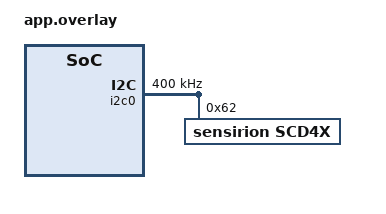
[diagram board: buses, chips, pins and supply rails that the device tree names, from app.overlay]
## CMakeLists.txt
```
# SPDX-License-Identifier: Apache-2.0

cmake_minimum_required(VERSION 3.20.0)

find_package(Zephyr REQUIRED HINTS $ENV{ZEPHYR_BASE})
project(scd4x)

FILE(GLOB app_sources src/*.c)
target_sources(app PRIVATE ${app_sources})
```

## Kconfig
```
#
# Copyright (c) 2022 Stephen Oliver
#
# SPDX-License-Identifier: Apache-2.0
#

mainmenu "SCD4X sample application"

config APP_USE_FAHRENHEIT
	bool "Display fahrenheit temperature in console"
	default n
	help
		Converts temperature value from sensor before logging

source "Kconfig.zephyr"
```

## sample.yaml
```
#
# Copyright (c) 2022 Stephen Oliver
#
# SPDX-License-Identifier: Apache-2.0
#

sample:
  name: SCD4X Sensor Sample
tests:
  sample.sensor.scd4x:
    build_only: true
    platform_allow: esp32
    tags: sensors
```

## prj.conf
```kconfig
CONFIG_CBPRINTF_FP_SUPPORT=y
CONFIG_I2C=y
CONFIG_SENSOR=y
CONFIG_SCD4X=y

CONFIG_LOG=y
CONFIG_SENSOR_LOG_LEVEL_DBG=y

CONFIG_UART_INTERRUPT_DRIVEN=y
CONFIG_SERIAL=y

CONFIG_UART_LINE_CTRL=y
CONFIG_SCD4X_POWER_DOWN_SINGLE_SHOT_MEASUREMENT=y
```

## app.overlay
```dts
&i2c0 {
	status = "okay";
	clock-frequency = <I2C_BITRATE_FAST>;
	scd4x@62 {
		status = "okay";
		compatible = "sensirion,scd4x";
		reg = <0x62>;
		label = "SCD4X";
        model = "scd40";
        altitude = <0>;
        measure-mode = "normal";
        temperature-offset = <4>;
		auto-calibration;
	};
};
```

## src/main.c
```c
/*
 * Copyright (c) 2022 Stephen Oliver
 *
 * SPDX-License-Identifier: Apache-2.0
 */

#include <zephyr/zephyr.h>
#include <zephyr/logging/log.h>

#include <zephyr/device.h>
#include <zephyr/drivers/sensor.h>
#include <stdio.h>

#include <zephyr/drivers/sensor/scd4x.h>

LOG_MODULE_REGISTER(main);

#if !DT_HAS_COMPAT_STATUS_OKAY(sensirion_scd4x)
#error "No sensirion,scd4x compatible node found in the device tree"
#endif


void main(void)
{
	printk("\n");

	const struct device *scd = DEVICE_DT_GET_ANY(sensirion_scd4x);

	struct sensor_value temp, hum, co2;

	if (!device_is_ready(scd)) {
		LOG_ERR("Device %s is not ready", scd->name);
		return;
	}

	while (true) {
		if (sensor_sample_fetch(scd)) {
			LOG_ERR("Failed to fetch sample from SCD4X device");
			return;
		}

		sensor_channel_get(scd, SENSOR_CHAN_AMBIENT_TEMP, &temp);
		sensor_channel_get(scd, SENSOR_CHAN_HUMIDITY, &hum);
		sensor_channel_get(scd, SENSOR_CHAN_CO2, &co2);

		double temperature = sensor_value_to_double(&temp);
		#ifdef CONFIG_APP_USE_FAHRENHEIT
		temperature = ((9.0 / 5.0) * temperature) + 32;
		#endif

		LOG_INF("SCD4x Temperature: %.2f°, Humidity: %0.2f%%, CO2: %0.0f ppm",
		       temperature,
		       sensor_value_to_double(&hum),
			   sensor_value_to_double(&co2));

		k_sleep(K_MSEC(5000));
	}
}
```
